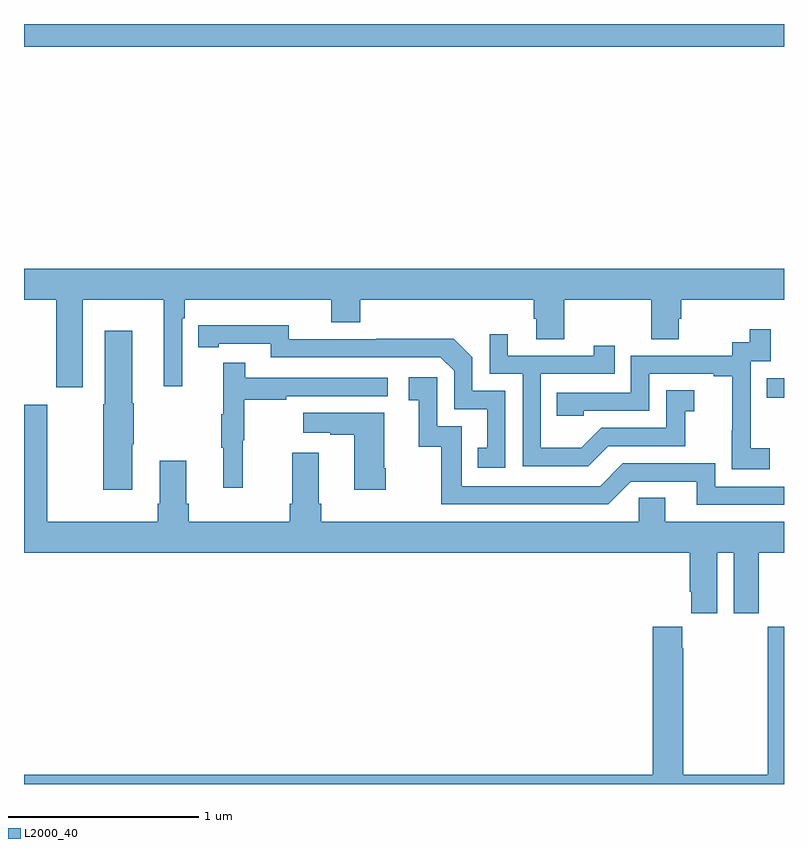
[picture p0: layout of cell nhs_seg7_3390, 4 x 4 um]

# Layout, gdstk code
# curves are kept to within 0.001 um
import gdstk
lib = gdstk.Library(unit=1e-6, precision=1e-09)
def R(c, l, rs):  # rectangles x0, y0, x1, y1
    for r in rs: c.add(gdstk.rectangle(r[:2], r[2:], *l))
def P(c, l, *ps):  # polygons
    for p in ps: c.add(gdstk.Polygon(p, *l))
L2000_40 = (2000, 40)

nhs_seg7_3390 = lib.new_cell('nhs_seg7_3390')
R(nhs_seg7_3390, L2000_40, [(328.909,1068.034,329,1068.135), (325,1069.88,329,1070)])
P(nhs_seg7_3390, L2000_40, [(325,1068.548),(325.169,1068.548),(325.169,1068.087),(325.309,1068.087),(325.309,1068.548),(325.736,1068.548),(325.736,1068.093),(325.833,1068.093),(325.833,1068.452),(325.847,1068.452),(325.847,1068.548),(326.618,1068.548),(326.618,1068.431),(326.771,1068.431),(326.771,1068.548),(327.683,1068.548),(327.683,1068.45),(327.695,1068.45),(327.695,1068.34),(327.843,1068.34),(327.843,1068.548),(328.3,1068.548),(328.3,1068.34),(328.447,1068.34),(328.447,1068.45),(328.46,1068.45),(328.46,1068.548),(329,1068.548),(329,1068.712),(325,1068.712)],
  [(327.534,1068.069),(327.36,1068.069),(327.36,1068.246),(327.262,1068.344),(326.854,1068.344),(326.854,1068.342),(326.394,1068.342),(326.394,1068.415),(325.918,1068.414),(325.918,1068.298),(326.026,1068.298),(326.026,1068.318),(326.298,1068.318),(326.298,1068.246),(327.192,1068.246),(327.264,1068.174),(327.264,1067.973),(327.437,1067.973),(327.437,1067.769),(327.388,1067.769),(327.388,1067.664),(327.534,1067.664)],
  [(328.924,1067.767),(328.826,1067.767),(328.826,1067.996),(328.824,1067.996),(328.824,1068.225),(328.929,1068.225),(328.929,1068.394),(328.821,1068.394),(328.821,1068.324),(328.728,1068.324),(328.728,1068.255),(328.194,1068.255),(328.194,1068.06),(327.805,1068.06),(327.805,1067.937),(327.945,1067.937),(327.945,1067.964),(328.29,1067.964),(328.29,1068.159),(328.631,1068.159),(328.631,1068.147),(328.727,1068.147),(328.727,1067.863),(328.726,1067.863),(328.726,1067.657),(328.924,1067.657)],
  [(325.57,1067.788),(325.578,1067.788),(325.578,1068.005),(325.57,1068.005),(325.57,1068.385),(325.424,1068.385),(325.424,1067.999),(325.417,1067.999),(325.417,1067.55),(325.57,1067.55)],
  [(328.075,1067.778),(328.479,1067.778),(328.479,1067.963),(328.528,1067.963),(328.528,1068.073),(328.38,1068.073),(328.38,1067.874),(328.038,1067.874),(327.934,1067.77),(327.72,1067.77),(327.72,1068.159),(328.109,1068.159),(328.109,1068.307),(327.998,1068.307),(327.998,1068.255),(327.547,1068.255),(327.547,1068.367),(327.45,1068.367),(327.45,1068.159),(327.624,1068.159),(327.624,1067.673),(327.97,1067.673)],
  [(326.15,1067.808),(326.158,1067.808),(326.158,1068.022),(326.381,1068.022),(326.381,1068.042),(326.914,1068.042),(326.914,1068.138),(326.165,1068.138),(326.165,1068.217),(326.048,1068.217),(326.048,1067.945),(326.037,1067.945),(326.037,1067.771),(326.048,1067.771),(326.048,1067.559),(326.15,1067.559)],
  [(329,1067.565),(328.638,1067.565),(328.638,1067.688),(328.152,1067.688),(328.032,1067.568),(327.303,1067.568),(327.303,1067.883),(327.174,1067.883),(327.174,1068.142),(327.024,1068.142),(327.024,1068.021),(327.077,1068.021),(327.077,1067.775),(327.195,1067.775),(327.195,1067.472),(328.074,1067.472),(328.194,1067.592),(328.541,1067.592),(328.541,1067.469),(329,1067.469)],
  [(328.648,1067.216),(328.736,1067.216),(328.736,1066.899),(328.867,1066.899),(328.867,1067.216),(329,1067.216),(329,1067.38),(328.375,1067.38),(328.375,1067.507),(328.236,1067.507),(328.236,1067.38),(326.564,1067.38),(326.564,1067.476),(326.551,1067.476),(326.551,1067.743),(326.411,1067.743),(326.411,1067.476),(326.399,1067.476),(326.399,1067.38),(325.868,1067.38),(325.868,1067.476),(325.855,1067.476),(325.855,1067.701),(325.715,1067.701),(325.715,1067.476),(325.703,1067.476),(325.703,1067.38),(325.123,1067.38),(325.123,1067.995),(325,1067.995),(325,1067.216),(328.505,1067.216),(328.505,1067.011),(328.511,1067.011),(328.511,1066.899),(328.648,1066.899)],
  [(326.904,1067.662),(326.896,1067.662),(326.896,1067.953),(326.469,1067.953),(326.469,1067.849),(326.612,1067.849),(326.612,1067.839),(326.738,1067.839),(326.738,1067.55),(326.904,1067.55)],
  [(328.465,1066.715),(328.465,1066.828),(328.31,1066.828),(328.31,1066.048),(325,1066.048),(325,1066),(329,1066),(329,1066.828),(328.915,1066.828),(328.915,1066.048),(328.47,1066.048),(328.47,1066.715)])

lib.write_gds('nhs_seg7_3390.gds')
